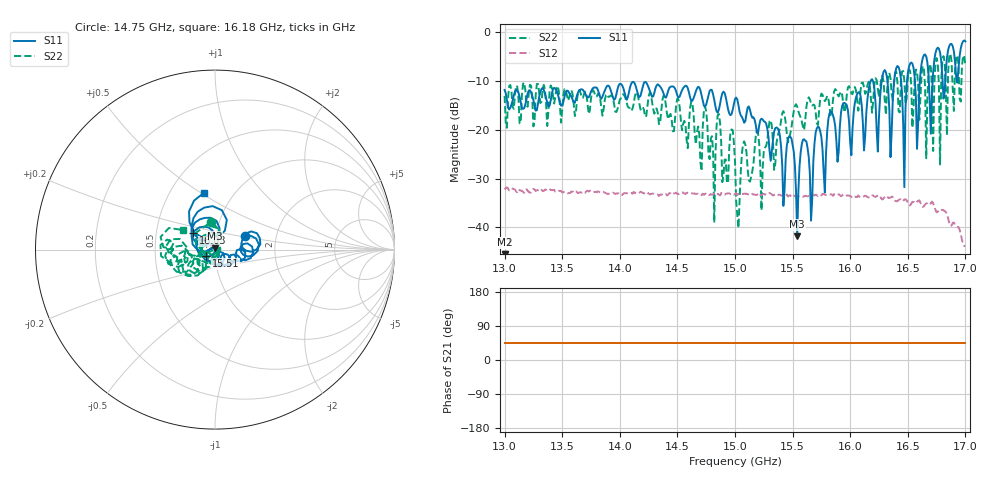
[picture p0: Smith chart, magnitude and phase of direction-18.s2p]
!Keysight Technologies,P9374A,MY57211810,A.19.30.04
!Date: Friday, May 02, 2025 08:58:35
!Correction: S11(Off)
!S21(Off)
!S12(Off)
!S22(Off)
!S2P File: Measurements: S11, S21, S12, S22:
# Hz S  dB  R 50
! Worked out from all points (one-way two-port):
!   401 points, 13 GHz to 17 GHz, reference 50 ohm
!   highest |S21| = - dB at 13 GHz (marker M1); lowest = - dB at 13 GHz (marker M2)
!   lowest |S11| = -41.9 dB at 15.54 GHz (marker M3), VSWR 1.02, Z = 49.9 + j0.8 ohm
!   |S11| at or under -10 dB: start of sweep to 16.18 GHz; 16.19709 GHz to 16.27371 GHz (76.62 MHz wide, 0.472 % of centre); 16.32289 GHz to 16.38152 GHz (58.63 MHz wide, 0.359 % of centre) (the widest 3 of 8)
!   |S22| runs from -40.2 to -4.4 dB; largest |S21 - S12| = 0.026
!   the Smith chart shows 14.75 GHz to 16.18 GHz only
!   S11 on the Smith chart (normalised r, x): 14.75 GHz: 1.38, +0.21; 15.51 GHz: 0.91, -0.06; 16.03 GHz: 0.77, +0.14; 16.18 GHz: 0.73, +0.51
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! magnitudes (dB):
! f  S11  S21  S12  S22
! 13 GHz  -11.8  -  -32.2  -13.1
! 13.67 GHz  -11.7  -  -32.9  -13.4
! 14.34 GHz  -10.9  -  -33.6  -18.9
! 14.75 GHz  -14.8  -  -33.0  -16.2
! 15 GHz  -13.7  -  -33.2  -26.4
! 15.03 GHz  -14.9  -  -33.2  -40.2
! 15.08 GHz  -18.6  -  -33.1  -22.4
! 15.51 GHz  -24.5  -  -33.5  -16.2
! 15.54 GHz  -41.9  -  -33.5  -15.2
! 15.6 GHz  -21.9  -  -33.7  -20.0
! 15.67 GHz  -34.4  -  -33.5  -15.0
! 15.72 GHz  -19.4  -  -33.6  -19.0
! 16.03 GHz  -16.5  -  -33.6  -11.8
! 16.18 GHz  -9.8  -  -33.8  -13.5
! 16.34 GHz  -16.0  -  -34.0  -8.3
! 16.41 GHz  -6.9  -  -34.6  -10.3
! 16.47 GHz  -31.8  -  -34.3  -9.9
! 16.52 GHz  -6.4  -  -35.5  -7.9
! 16.58 GHz  -23.9  -  -34.8  -8.0
! 16.64 GHz  -4.7  -  -35.7  -7.5
! 16.7 GHz  -20.8  -  -35.1  -7.2
! 17 GHz  -1.9  -  -43.8  -6.9
